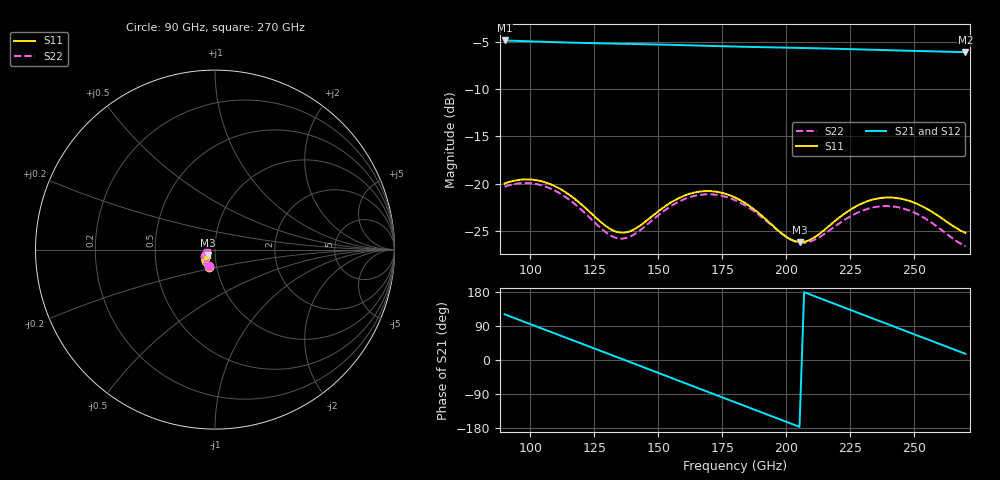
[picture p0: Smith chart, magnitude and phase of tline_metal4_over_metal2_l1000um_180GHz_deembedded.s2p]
! Created with skrf 2.0.1 (http://scikit-rf.org).
# GHz S DB R 50.0
!freq dBS11 angS11 dBS21 angS21 dBS12 angS12 dBS22 angS22
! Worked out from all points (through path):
!   101 points, 90 GHz to 270 GHz, reference 50 ohm
!   highest |S21| = -4.84 dB at 90 GHz (marker M1); lowest = -6.1 dB at 270 GHz (marker M2)
!   group delay of S21, straight-line fit = 7.17 ps
!   lowest |S11| = -26.2 dB at 205.2 GHz (marker M3), VSWR 1.10, Z = 46.2 - j2.8 ohm
!   |S11| at or under -10 dB: start of sweep to end of sweep
!   |S22| runs from -26.6 to -19.9 dB; largest |S21 - S12| = 6.4e-14
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90  -19.99 -108.1  -4.84 120.6  -4.84 120.6  -20.33 -109.7
97.2  -19.56 -118.2  -4.91 102.0  -4.91 102.0  -19.93 -120.3
104.4  -19.74 -128.8  -4.98 83.5  -4.98 83.5  -20.17 -131.3
111.6  -20.54 -138.3  -5.04 65.0  -5.04 65.0  -21.03 -141.1
120.6  -22.34 -145.6  -5.10 41.8  -5.10 41.8  -22.91 -148.6
127.8  -24.11 -144.1  -5.15 23.3  -5.15 23.3  -24.76 -146.9
135  -25.18 -134.2  -5.19 4.8  -5.19 4.8  -25.82 -136.4
142.2  -24.57 -123.2  -5.23 -13.8  -5.23 -13.8  -25.09 -125.4
151.2  -22.69 -120.4  -5.28 -37.1  -5.28 -37.1  -23.10 -123.3
165.6  -20.86 -133.2  -5.38 -74.3  -5.38 -74.3  -21.22 -137.2
172.8  -20.85 -142.0  -5.44 -92.9  -5.44 -92.9  -21.18 -146.6
180  -21.46 -150.3  -5.49 -111.4  -5.49 -111.4  -21.74 -155.2
192.6  -23.91 -157.1  -5.56 -143.9  -5.56 -143.9  -24.02 -163.4
205.2  -26.18 -142.0  -5.63 -176.4  -5.63 -176.4  -26.23 -152.0
210.6  -25.75 -132.3  -5.67 169.6  -5.67 169.6  -26.00 -143.7
217.8  -24.24 -126.0  -5.71 151.0  -5.71 151.0  -24.77 -137.9
226.8  -22.47 -128.5  -5.78 127.7  -5.78 127.7  -23.21 -140.4
234  -21.67 -134.8  -5.83 109.1  -5.83 109.1  -22.51 -146.6
241.2  -21.47 -142.3  -5.88 90.6  -5.88 90.6  -22.40 -154.2
253.8  -22.49 -153.3  -5.98 58.1  -5.98 58.1  -23.60 -165.4
262.8  -24.04 -154.9  -6.04 34.9  -6.04 34.9  -25.34 -166.6
270  -25.21 -149.4  -6.08 16.4  -6.08 16.4  -26.61 -160.0
